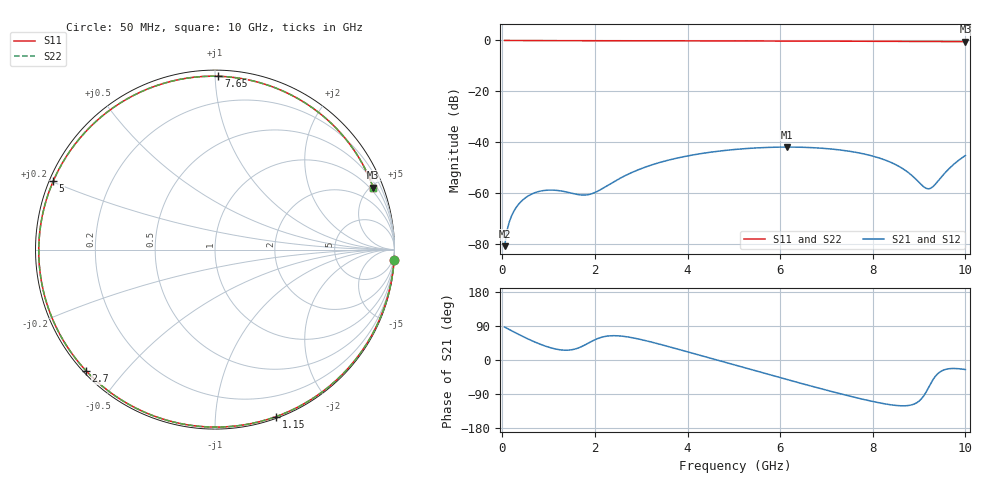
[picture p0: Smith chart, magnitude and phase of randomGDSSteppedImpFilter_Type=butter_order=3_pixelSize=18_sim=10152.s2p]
! freq	dB(S11)	phase(S11)	dB(S12)	phase(S12)
!  dB(S21)	phase(S21)	dB(S22)	phase(S22)
!S-par simulation data
#  GHz  S  DB  R 50
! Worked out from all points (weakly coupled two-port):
!   200 points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, 50 MHz to 10 GHz, reference 50 ohm
!   highest |S21| = -41.86 dB at 6.15 GHz (marker M1); lowest = -80.8 dB at 50 MHz (marker M2)
!   lowest |S11| = -0.5 dB at 10 GHz (marker M3), VSWR 36.54, Z = 38.8 + j259 ohm
!   |S11| at or under -10 dB: nowhere
!   |S22| runs from -0.5 to 0.0 dB; largest |S21 - S12| = 0
!   S11 on the Smith chart (normalised r, x): 50 MHz: 0, -35; 1.15 GHz: 0.01, -1.43; 2.7 GHz: 0.01, -0.40; 5 GHz: 0.01, +0.20; 7.65 GHz: 0.04, +1.02; 10 GHz: 0.78, +5.18
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0.05  -0.00 -3.3  -80.78 86.8  -80.78 86.8  -0.00 -3.3
0.1  -0.01 -6.5  -74.79 83.6  -74.79 83.6  -0.01 -6.5
0.2  -0.02 -13.0  -68.89 77.2  -68.89 77.2  -0.02 -13.0
0.4  -0.04 -25.7  -63.35 64.7  -63.35 64.7  -0.03 -25.7
0.75  -0.06 -47.2  -59.50 45.0  -59.50 45.0  -0.06 -47.2
1.15  -0.08 -69.8  -58.82 29.0  -58.82 29.0  -0.08 -69.8
1.75  -0.10 -99.4  -60.72 37.5  -60.72 37.5  -0.10 -99.4
2  -0.11 -110.2  -59.71 53.5  -59.71 53.5  -0.11 -110.2
2.7  -0.12 -136.8  -52.67 61.0  -52.67 61.0  -0.12 -136.8
3.4  -0.14 -159.3  -47.91 41.7  -47.91 41.7  -0.14 -159.4
4.15  -0.16 179.3  -44.85 16.4  -44.85 16.4  -0.16 179.3
5  -0.19 157.0  -42.84 -12.8  -42.84 -12.8  -0.19 157.0
5.05  -0.19 155.8  -42.76 -14.5  -42.76 -14.5  -0.19 155.7
6.15  -0.23 127.9  -41.86 -51.7  -41.86 -51.7  -0.23 127.9
6.7  -0.26 113.9  -42.10 -69.9  -42.10 -69.9  -0.26 113.8
7.65  -0.30 88.9  -43.98 -99.7  -43.98 -99.7  -0.30 88.8
8.35  -0.34 69.6  -47.55 -117.6  -47.55 -117.6  -0.34 69.5
8.7  -0.36 59.7  -50.97 -120.8  -50.97 -120.8  -0.36 59.6
9.2  -0.39 45.2  -58.29 -73.7  -58.29 -73.7  -0.39 45.1
9.3  -0.40 42.3  -57.40 -51.8  -57.40 -51.8  -0.40 42.2
9.65  -0.44 31.9  -50.28 -23.0  -50.28 -23.0  -0.44 31.8
10  -0.48 21.4  -45.18 -25.3  -45.18 -25.3  -0.48 21.3
